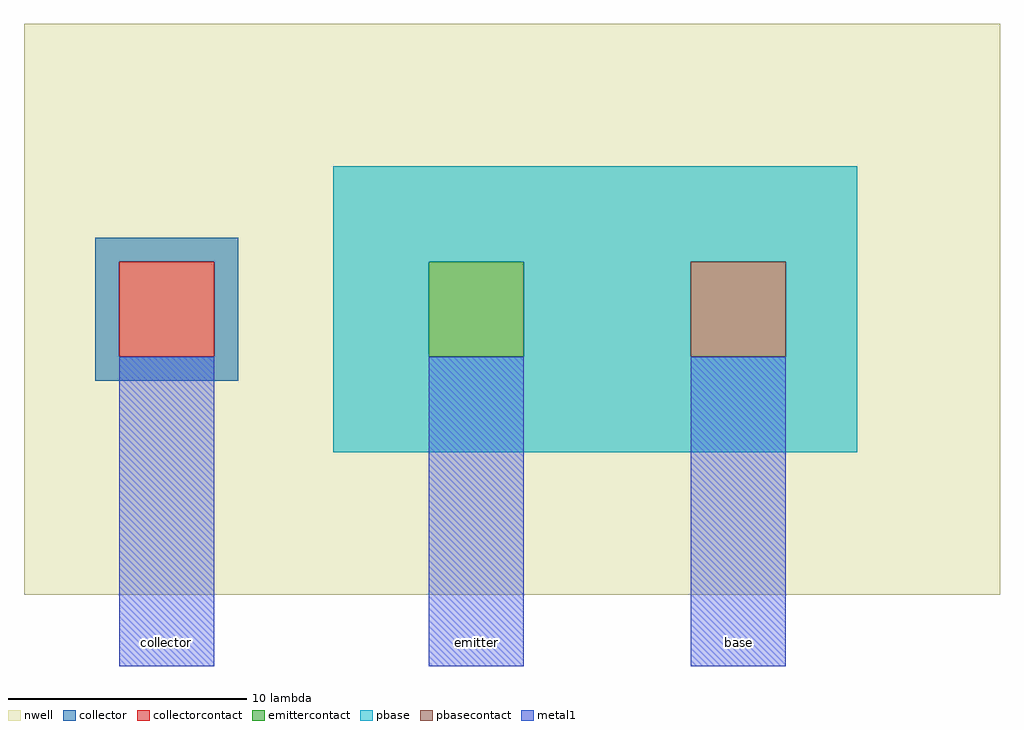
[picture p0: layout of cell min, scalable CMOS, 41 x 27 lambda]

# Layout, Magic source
magic
tech scmos
<< nwell >>
rect 5 3 46 27
<< metal1 >>
rect 9 0 13 13
rect 22 0 26 13
rect 33 0 37 13
<< collector >>
rect 8 17 14 18
rect 8 13 9 17
rect 13 13 14 17
rect 8 12 14 13
<< pbase >>
rect 18 17 40 21
rect 18 13 22 17
rect 26 13 33 17
rect 37 13 40 17
rect 18 9 40 13
<< collectorcontact >>
rect 9 13 13 17
<< emittercontact >>
rect 22 13 26 17
<< pbasecontact >>
rect 33 13 37 17
<< labels >>
rlabel space 0 17 0 17 3 without
rlabel space 0 13 0 13 3 guardring
rlabel metal1 35 1 35 1 5 base
rlabel metal1 24 1 24 1 5 emitter
rlabel metal1 11 1 11 1 5 collector
<< end >>
